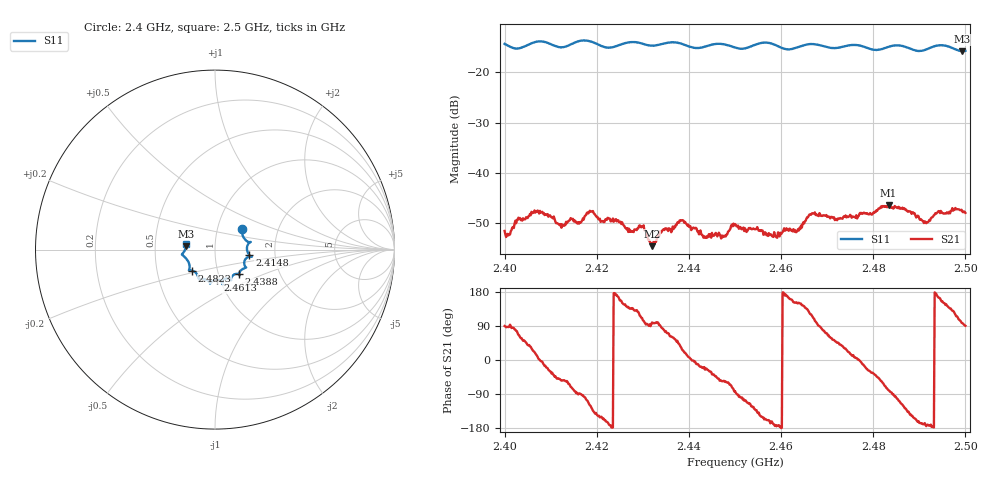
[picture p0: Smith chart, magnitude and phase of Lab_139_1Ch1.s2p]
# Hz S RI R 50
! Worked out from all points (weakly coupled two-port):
!   601 points, 2.4 GHz to 2.5 GHz, reference 50 ohm
!   highest |S21| = -46.53 dB at 2.4833 GHz (marker M1); lowest = -54.7 dB at 2.432 GHz (marker M2)
!   lowest |S11| = -15.8 dB at 2.4993 GHz (marker M3), VSWR 1.39, Z = 36.1 + j1.32 ohm
!   |S11| at or under -10 dB: start of sweep to end of sweep
!   S12 and S22 are empty: the file has one direction only
!   S11 on the Smith chart (normalised r, x): 2.4 GHz: 1.32, +0.32; 2.4148 GHz: 1.47, -0.10; 2.4388 GHz: 1.25, -0.35; 2.4613 GHz: 0.97, -0.34; 2.4823 GHz: 0.75, -0.18; 2.5 GHz: 0.72, +0.04
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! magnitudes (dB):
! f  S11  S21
! 2.4 GHz  -14.3  -51.6
! 2.4068 GHz  -13.9  -47.7
! 2.4123 GHz  -15.0  -51.0
! 2.4148 GHz  -14.2  -49.2
! 2.4167 GHz  -13.7  -49.8
! 2.4188 GHz  -13.9  -47.7
! 2.4273 GHz  -14.0  -51.6
! 2.4297 GHz  -14.2  -50.9
! 2.432 GHz  -14.7  -54.7
! 2.4333 GHz  -14.5  -52.5
! 2.4388 GHz  -14.4  -49.6
! 2.4437 GHz  -14.8  -53.0
! 2.45 GHz  -15.0  -50.3
! 2.4613 GHz  -15.4  -51.4
! 2.4637 GHz  -15.0  -51.3
! 2.4667 GHz  -14.3  -48.2
! 2.4722 GHz  -15.1  -49.5
! 2.4823 GHz  -15.2  -46.8
! 2.4833 GHz  -14.9  -46.5
! 2.4915 GHz  -15.4  -50.1
! 2.4993 GHz  -15.8  -47.7
! 2.5 GHz  -15.7  -48.0
